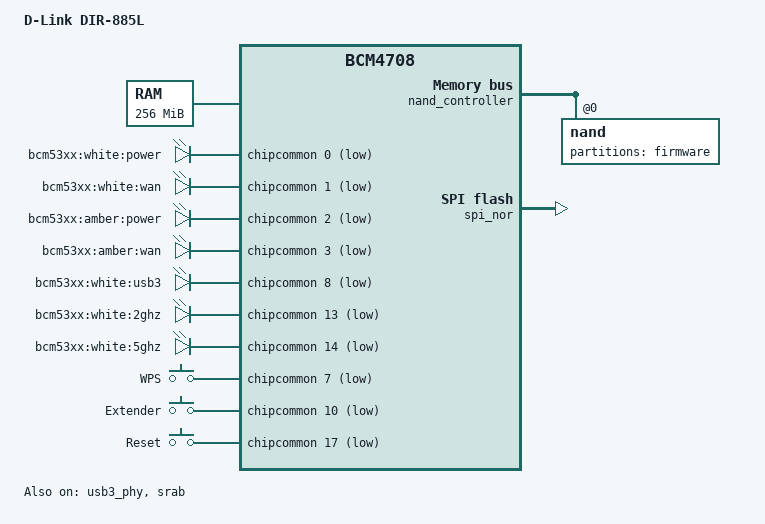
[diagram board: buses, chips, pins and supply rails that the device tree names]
// SPDX-License-Identifier: GPL-2.0-or-later OR MIT
/*
 * Broadcom BCM470X / BCM5301X ARM platform code.
 * DTS for D-Link DIR-885L
 *
 * Copyright (C) 2016 Rafał Miłecki <zajec5@gmail.com>
 */

/dts-v1/;

#include "bcm47094.dtsi"
#include "bcm5301x-nand-cs0-bch1.dtsi"

/ {
	compatible = "dlink,dir-885l", "brcm,bcm47094", "brcm,bcm4708";
	model = "D-Link DIR-885L";

	chosen {
		bootargs = "console=ttyS0,115200 earlycon";
	};

	memory@0 {
		device_type = "memory";
		reg = <0x00000000 0x08000000>,
		      <0x88000000 0x08000000>;
	};

	nand_controller: nand-controller@18028000 {
		nand@0 {
			partitions {
				compatible = "fixed-partitions";
				#address-cells = <1>;
				#size-cells = <1>;

				partition@0 {
					label = "firmware";
					reg = <0x00000000 0x08000000>;
				};
			};
		};
	};

	leds {
		compatible = "gpio-leds";

		power-white {
			label = "bcm53xx:white:power";
			gpios = <&chipcommon 0 GPIO_ACTIVE_LOW>;
			linux,default-trigger = "default-on";
		};

		wan-white {
			label = "bcm53xx:white:wan";
			gpios = <&chipcommon 1 GPIO_ACTIVE_LOW>;
		};

		power-amber {
			label = "bcm53xx:amber:power";
			gpios = <&chipcommon 2 GPIO_ACTIVE_LOW>;
		};

		wan-amber {
			label = "bcm53xx:amber:wan";
			gpios = <&chipcommon 3 GPIO_ACTIVE_LOW>;
		};

		usb3-white {
			label = "bcm53xx:white:usb3";
			gpios = <&chipcommon 8 GPIO_ACTIVE_LOW>;
			trigger-sources = <&ohci_port1>, <&ehci_port1>,
					  <&xhci_port1>;
			linux,default-trigger = "usbport";
		};

		2ghz {
			label = "bcm53xx:white:2ghz";
			gpios = <&chipcommon 13 GPIO_ACTIVE_LOW>;
		};

		5ghz {
			label = "bcm53xx:white:5ghz";
			gpios = <&chipcommon 14 GPIO_ACTIVE_LOW>;
		};
	};

	gpio-keys {
		compatible = "gpio-keys";

		wps {
			label = "WPS";
			linux,code = <KEY_WPS_BUTTON>;
			gpios = <&chipcommon 7 GPIO_ACTIVE_LOW>;
		};

		/* Switch: router / extender */
		extender {
			label = "Extender";
			linux,code = <BTN_0>;
			gpios = <&chipcommon 10 GPIO_ACTIVE_LOW>;
		};

		restart {
			label = "Reset";
			linux,code = <KEY_RESTART>;
			gpios = <&chipcommon 17 GPIO_ACTIVE_LOW>;
		};
	};
};

&usb3 {
	vcc-gpio = <&chipcommon 18 GPIO_ACTIVE_HIGH>;
};

&spi_nor {
	status = "okay";
};

&usb3_phy {
	status = "okay";
};

&srab {
	status = "okay";

	ports {
		port@0 {
			reg = <0>;
			label = "lan4";
		};

		port@1 {
			reg = <1>;
			label = "lan3";
		};

		port@2 {
			reg = <2>;
			label = "lan2";
		};

		port@3 {
			reg = <3>;
			label = "lan1";
		};

		port@4 {
			reg = <4>;
			label = "wan";
		};

		port@8 {
			reg = <8>;
			label = "cpu";
			ethernet = <&gmac2>;

			fixed-link {
				speed = <1000>;
				full-duplex;
			};
		};
	};
};
